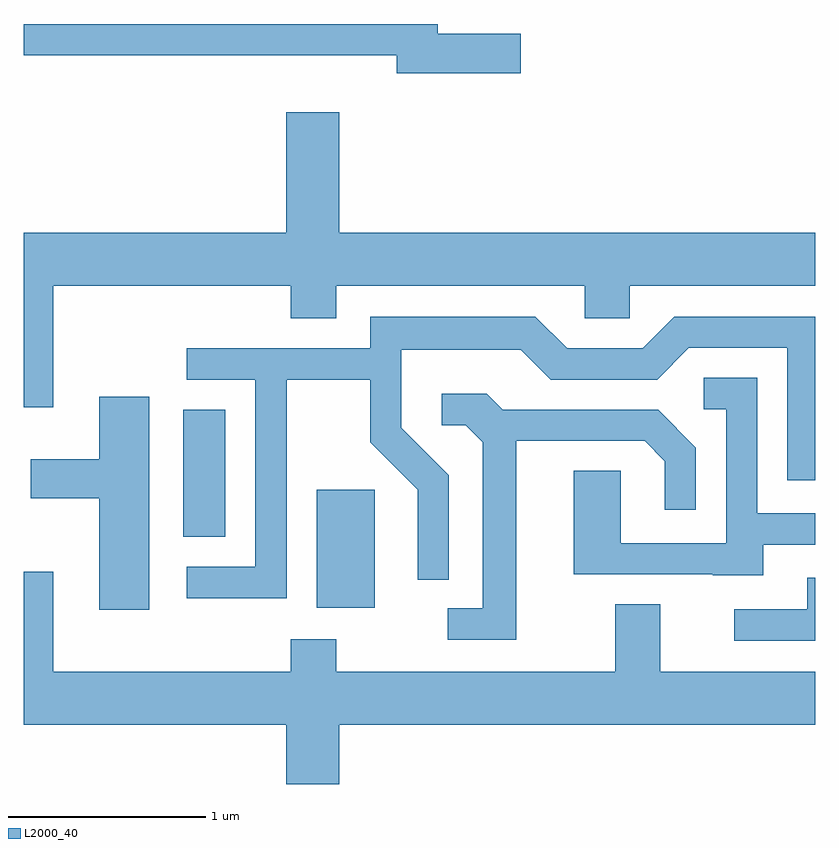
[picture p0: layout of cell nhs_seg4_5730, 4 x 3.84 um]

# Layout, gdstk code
import gdstk
lib = gdstk.Library(unit=1e-6, precision=1e-09)
def R(c, l, rs):  # rectangles x0, y0, x1, y1
    for r in rs: c.add(gdstk.rectangle(r[:2], r[2:], *l))
def P(c, l, *ps):  # polygons
    for p in ps: c.add(gdstk.Polygon(p, *l))
L2000_40 = (2000, 40)

nhs_seg4_5730 = lib.new_cell('nhs_seg4_5730')
R(nhs_seg4_5730, L2000_40, [(355.091,1290.886,355.384,1291.484), (354.416,1291.246,354.629,1291.889)])
P(nhs_seg4_5730, L2000_40, [(356.124,1293.789),(355.704,1293.789),(355.704,1293.839),(353.611,1293.839),(353.611,1293.681),(355.496,1293.681),(355.496,1293.591),(356.124,1293.591)],
  [(354.936,1293.394),(354.936,1292.784),(353.611,1292.784),(353.611,1291.901),(353.759,1291.901),(353.759,1292.516),(354.961,1292.516),(354.961,1292.351),(355.189,1292.351),(355.189,1292.516),(356.446,1292.516),(356.446,1292.351),(356.674,1292.351),(356.674,1292.516),(357.611,1292.516),(357.611,1292.784),(355.204,1292.784),(355.204,1293.394)],
  [(354.939,1292.041),(355.361,1292.041),(355.361,1291.724),(355.601,1291.484),(355.601,1291.028),(355.759,1291.028),(355.759,1291.557),(355.519,1291.797),(355.519,1292.191),(356.124,1292.191),(356.274,1292.041),(356.812,1292.041),(356.972,1292.201),(357.471,1292.201),(357.471,1291.531),(357.611,1291.531),(357.611,1292.359),(356.899,1292.359),(356.739,1292.199),(356.357,1292.199),(356.197,1292.359),(355.361,1292.359),(355.361,1292.199),(354.433,1292.199),(354.433,1292.041),(354.781,1292.041),(354.781,1291.094),(354.433,1291.094),(354.433,1290.936),(354.939,1290.936)],
  [(357.349,1291.206),(357.611,1291.206),(357.611,1291.364),(357.319,1291.364),(357.319,1292.049),(357.048,1292.049),(357.048,1291.891),(357.161,1291.891),(357.161,1291.214),(356.629,1291.214),(356.629,1291.579),(356.391,1291.579),(356.391,1291.056),(357.095,1291.056),(357.095,1291.051),(357.349,1291.051)],
  [(356.099,1291.731),(356.749,1291.731),(356.851,1291.629),(356.851,1291.383),(357.009,1291.383),(357.009,1291.697),(356.817,1291.889),(356.032,1291.889),(355.952,1291.969),(355.723,1291.969),(355.723,1291.811),(355.844,1291.811),(355.931,1291.724),(355.931,1290.884),(355.753,1290.884),(355.753,1290.726),(356.099,1290.726)],
  [(354.244,1291.954),(353.991,1291.954),(353.991,1291.639),(353.646,1291.639),(353.646,1291.441),(353.991,1291.441),(353.991,1290.876),(354.244,1290.876)],
  [(355.204,1290.296),(357.611,1290.296),(357.611,1290.564),(356.829,1290.564),(356.829,1290.904),(356.601,1290.904),(356.601,1290.564),(355.189,1290.564),(355.189,1290.729),(354.961,1290.729),(354.961,1290.564),(353.759,1290.564),(353.759,1291.069),(353.611,1291.069),(353.611,1290.296),(354.936,1290.296),(354.936,1289.996),(355.204,1289.996)],
  [(357.611,1291.039),(357.571,1291.039),(357.571,1290.879),(357.203,1290.879),(357.203,1290.721),(357.611,1290.721)])

lib.write_gds('nhs_seg4_5730.gds')
